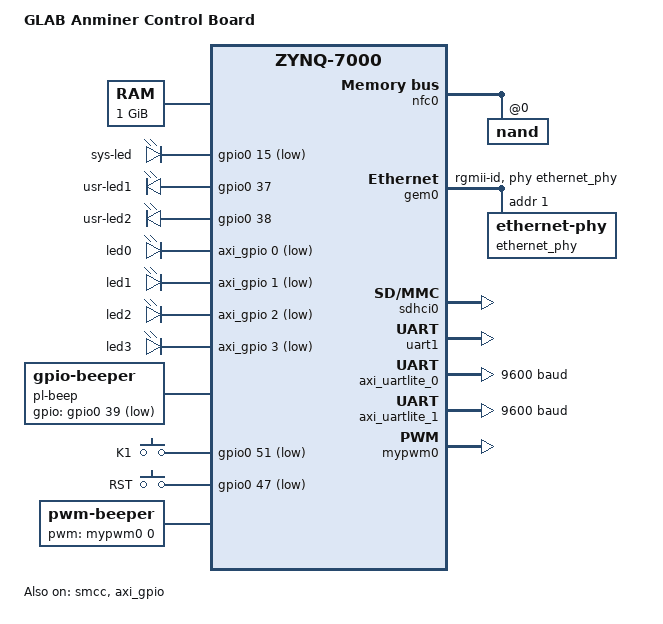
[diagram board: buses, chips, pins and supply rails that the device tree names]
/dts-v1/;
/include/ "zynq-7000.dtsi"

#include <dt-bindings/gpio/gpio.h>
#include <dt-bindings/interrupt-controller/irq.h>

/ {
	model = "GLAB Anminer Control Board";
	compatible = "xlnx,zynq-7000";

	aliases {
		ethernet0 = &gem0;
		serial0 = &uart1;
		mmc0 = &sdhci0;
		gpio0 = &gpio0;
	};

	memory@0 {
		device_type = "memory";
		reg = <0x0 0x40000000>;
	};

	reserved-memory {
		#address-cells = <1>;
		#size-cells = <1>;
		ranges;

		bootcount@efffff0 {
			reg = <0xefffff0 0x10>;
			no-map;
		};

		fpga_space@f000000 {
			reg = <0xf000000 0x1000000>;
			no-map;
		};
	};

	chosen {
		bootargs = "earlycon";
		stdout-path = "serial0:115200n8";
	};

	gpio-leds {
		compatible = "gpio-leds";
		sys-led {
			label = "sys-led";
			gpios = <&gpio0 15 GPIO_ACTIVE_LOW>;
			default-state = "off";
		};

		usr-led1 {
			label = "usr-led1";
			gpios = <&gpio0 37 GPIO_ACTIVE_HIGH>;
			default-state = "off";
		};

		usr-led2 {
			label = "usr-led2";
			gpios = <&gpio0 38 GPIO_ACTIVE_HIGH>;
			default-state = "off";
		};

        led0 {
            label = "led0";
            gpios = <&axi_gpio 0 GPIO_ACTIVE_LOW>;
            default-state = "off";
            linux,default-trigger = "heartbeat";
        };

        led1 {
            label = "led1";
            gpios = <&axi_gpio 1 GPIO_ACTIVE_LOW>;
            linux,default-trigger = "none";
            default-state = "off";
        };

        led2 {
            label = "led2";
            gpios = <&axi_gpio 2 GPIO_ACTIVE_LOW>;
            linux,default-trigger = "none";
            default-state = "off";
        };

        led3 {
            label = "led3";
            gpios = <&axi_gpio 3 GPIO_ACTIVE_LOW>;
            linux,default-trigger = "none";
            default-state = "off";
        };
	};

	gpio-beep {
		compatible = "gpio-beeper";
		label = "pl-beep";
		gpios = <&gpio0 39 0x01>;
	};

	gpio-keys {
		compatible = "gpio-keys";
		debounce-interval = <100>;
		autorepeat;
		K1 {
			label = "K1";
			gpios = <&gpio0 51 0x1>;
			linux,code = <59>; /*KEY_F1*/
			wakeup-source;
			autorepeat;
		};
		RST {
			label = "RST";
			gpios = <&gpio0 47 0x1>;
			linux,code = <0x198>; /*KEY_RESTART*/
			wakeup-source;
			autorepeat;
		};
	};

	beeper {
		compatible = "pwm-beeper";
		pwms = <&mypwm0 0 500000 0>;
	};
};

&clkc {
	ps-clk-frequency = <33333333>;
};

&nfc0 {
	status = "okay";
	#address-cells = <1>;
	#size-cells = <0>;
	nand@0 {
		reg = <0>;
		nand-on-flash-bbt; /* используем bad-block table на флеше */

		#address-cells = <1>;
		#size-cells = <1>;

	};
};

&smcc {
	status = "okay";
};

&gem0 {
	status = "okay";
	phy-mode = "rgmii-id";
	phy-handle = <&ethernet_phy>;

    local-mac-address = [02 00 00 00 00 01];
    mac-address       = [02 00 00 00 00 01];

	/* 0362/5e62 */
	ethernet_phy: ethernet-phy@1 {
		reg = <1>;
	};
};

&sdhci0 {
	bootph-all;
	status = "okay";
	disable-wp;
};

&uart1 {
	bootph-all;
	status = "okay";
};

&watchdog0 {
	reset-on-timeout;
	timeout-sec = <200>;
};

&amba {
	compatible = "simple-bus";
	#address-cells = <0x1>;
	#size-cells = <0x1>;
	ranges;

	axi_uartlite_0: serial@42C00000 {
		compatible = "xlnx,xps-uartlite-1.00.a";
		current-speed = <9600>;
		reg = <0x42C00000 0x00010000>;
		interrupt-parent = <&intc>;
		interrupts = <0 29 4>;
		clock-frequency = <100000000>;
	};

	axi_uartlite_1: serial@42C10000 {
		compatible = "xlnx,xps-uartlite-1.00.a";
		current-speed = <9600>;
		reg = <0x42C10000 0x00010000>;
		interrupt-parent = <&intc>;
		interrupts = <0 29 4>;
		clock-frequency = <100000000>;
	};

	fan_tach0: fan-tach@40000000 {
		compatible = "glab,fan-tach";
		reg = <0x40000000 0x1000>;
		pulses-per-rev = <2>;
		gate-ms = <100>;
	};

	mypwm0: pwm@0x40001000 {
		compatible = "glab,axi-pwm-1.0";
		reg = <0x40001000 0x1000>;
		clocks = <&clkc 15>;                  
		clock-names = "fclk0";
		#pwm-cells = <3>;
		status = "okay";
	};

	axi_gpio: gpio@41200000 {
		compatible = "xlnx,axi-gpio-2.0", "xlnx,xps-gpio-1.00.a";
		reg = <0x41200000 0x10000>;

		gpio-controller;
		#gpio-cells = <2>;
		ngpio = <4>;
		gpio-line-names = "LED 0","LED 1","LED 2","LED 3";
		status = "okay";
	};
};

&axi_uartlite_0 {
	bootph-all;
	status = "okay";
};

&axi_uartlite_1 {
	bootph-all;
	status = "okay";
};

